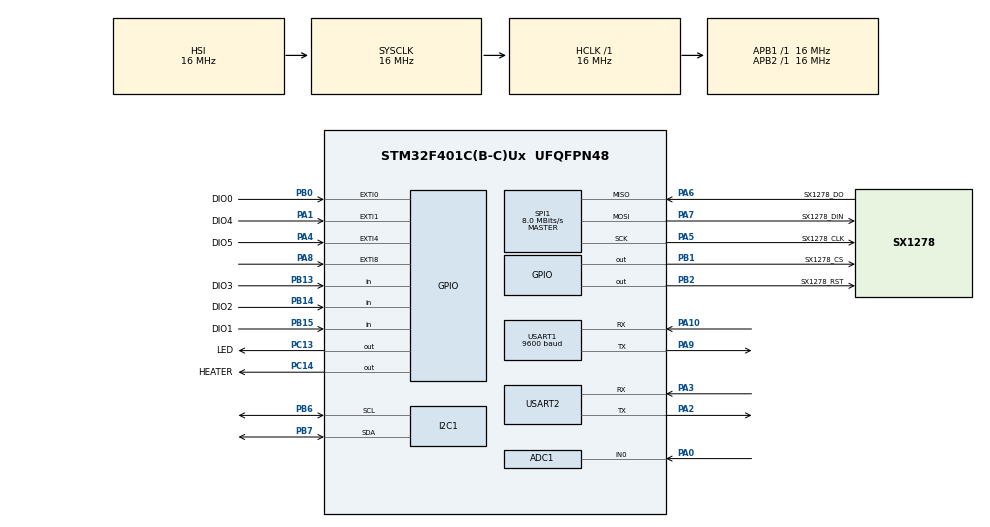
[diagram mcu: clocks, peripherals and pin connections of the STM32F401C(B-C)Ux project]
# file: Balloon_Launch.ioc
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ADC1.Channel-1\#ChannelRegularConversion=ADC_CHANNEL_0
ADC1.NbrOfConversionFlag=1
ADC1.Rank-1\#ChannelRegularConversion=1
ADC1.SamplingTime-1\#ChannelRegularConversion=ADC_SAMPLETIME_3CYCLES
ADC1.master=1
Dma.Request0=USART1_RX
Dma.USART1_RX.0.Direction=DMA_PERIPH_TO_MEMORY
Dma.USART1_RX.0.FIFOMode=DMA_FIFOMODE_DISABLE
Dma.USART1_RX.0.Instance=DMA2_Stream2
Dma.USART1_RX.0.MemDataAlignment=DMA_MDATAALIGN_BYTE
Dma.USART1_RX.0.MemInc=DMA_MINC_ENABLE
Dma.USART1_RX.0.Mode=DMA_NORMAL
Dma.USART1_RX.0.PeriphDataAlignment=DMA_PDATAALIGN_BYTE
Dma.USART1_RX.0.PeriphInc=DMA_PINC_DISABLE
Dma.USART1_RX.0.Priority=DMA_PRIORITY_LOW
IWDG.Prescaler=IWDG_PRESCALER_64
IWDG.Reload=3499
Mcu.Family=STM32F4
Mcu.Name=STM32F401C(B-C)Ux
Mcu.Package=UFQFPN48
NVIC.DMA2_Stream2_IRQn=true\:0\:0\:false\:false\:true\:false\:true\:true
NVIC.EXTI0_IRQn=true\:0\:0\:false\:false\:true\:true\:true\:true
NVIC.EXTI4_IRQn=true\:0\:0\:false\:false\:true\:true\:true\:true
NVIC.PriorityGroup=NVIC_PRIORITYGROUP_4
NVIC.TIM2_IRQn=true\:0\:0\:false\:false\:true\:true\:true\:true
PA0-WKUP.Signal=ADCx_IN0
PA1.GPIO_Label=DIO4
PA1.GPIO_ModeDefaultEXTI=GPIO_MODE_IT_RISING
PA1.Signal=GPXTI1
PA10.Mode=Asynchronous
PA10.Signal=USART1_RX
PA13.Mode=Serial_Wire
PA13.Signal=SYS_JTMS-SWDIO
PA14.Mode=Serial_Wire
PA14.Signal=SYS_JTCK-SWCLK
PA2.Mode=Asynchronous
PA2.Signal=USART2_TX
PA3.Mode=Asynchronous
PA3.Signal=USART2_RX
PA4.GPIO_Label=DIO5
PA4.GPIO_ModeDefaultEXTI=GPIO_MODE_IT_RISING_FALLING
PA4.Signal=GPXTI4
PA5.GPIO_Label=SX1278_CLK
PA5.Mode=Full_Duplex_Master
PA5.Signal=SPI1_SCK
PA6.GPIO_Label=SX1278_DO
PA6.Mode=Full_Duplex_Master
PA6.Signal=SPI1_MISO
PA7.GPIO_Label=SX1278_DIN
PA7.Mode=Full_Duplex_Master
PA7.Signal=SPI1_MOSI
PA8.GPIO_ModeDefaultEXTI=GPIO_MODE_IT_RISING
PA8.Signal=GPXTI8
PA9.Mode=Asynchronous
PA9.Signal=USART1_TX
PB0.GPIO_Label=DIO0
PB0.GPIO_ModeDefaultEXTI=GPIO_MODE_IT_RISING_FALLING
PB0.Signal=GPXTI0
PB1.GPIO_Label=SX1278_CS
PB1.PinState=GPIO_PIN_RESET
PB1.Signal=GPIO_Output
PB13.GPIO_Label=DIO3
PB13.Signal=GPIO_Input
PB14.GPIO_Label=DIO2
PB14.Signal=GPIO_Input
PB15.GPIO_Label=DIO1
PB15.Signal=GPIO_Input
PB2.GPIO_Label=SX1278_RST
PB2.GPIO_ModeDefaultOutputPP=GPIO_MODE_OUTPUT_PP
PB2.GPIO_PuPd=GPIO_NOPULL
PB2.PinState=GPIO_PIN_SET
PB2.Signal=GPIO_Output
PB6.Mode=I2C
PB6.Signal=I2C1_SCL
PB7.Mode=I2C
PB7.Signal=I2C1_SDA
PC13-ANTI_TAMP.GPIO_Label=LED
PC13-ANTI_TAMP.Signal=GPIO_Output
PC14-OSC32_IN.GPIO_Label=HEATER
PC14-OSC32_IN.Signal=GPIO_Output
PH0\ -\ OSC_IN.Mode=HSE-External-Oscillator
PH0\ -\ OSC_IN.Signal=RCC_OSC_IN
PH1\ -\ OSC_OUT.Mode=HSE-External-Oscillator
PH1\ -\ OSC_OUT.Signal=RCC_OSC_OUT
ProjectManager.HeapSize=0x200
ProjectManager.StackSize=0x400
ProjectManager.TargetToolchain=STM32CubeIDE
RCC.AHBFreq_Value=16000000
RCC.APB1Freq_Value=16000000
RCC.APB2Freq_Value=16000000
RCC.CortexFreq_Value=16000000
RCC.HSE_VALUE=25000000
RCC.HSI_VALUE=16000000
RCC.LSE_VALUE=32768
RCC.SYSCLKFreq_VALUE=16000000
RCC.VCOOutputFreq_Value=192000000
SH.ADCx_IN0.0=ADC1_IN0,IN0
SPI1.CalculateBaudRate=8.0 MBits/s
SPI1.Direction=SPI_DIRECTION_2LINES
SPI1.Mode=SPI_MODE_MASTER
SPI1.VirtualType=VM_MASTER
TIM2.Period=4999
TIM2.Prescaler=15999
USART1.BaudRate=9600
USART1.VirtualMode=VM_ASYNC
USART2.VirtualMode=VM_ASYNC
VP_IWDG_VS_IWDG.Mode=IWDG_Activate
VP_TIM2_VS_ClockSourceINT.Mode=Internal
VP_TIM2_VS_ClockSourceITR.Mode=TriggerSource_ITR3
board=custom

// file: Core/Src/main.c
/* USER CODE BEGIN Header */
/**
  ******************************************************************************
  * @file           : main.c
  * @brief          : Main program body
  ******************************************************************************
  * @attention
  *
  * Copyright (c) 2026 STMicroelectronics.
  * All rights reserved.
  *
  * This software is licensed under terms that can be found in the LICENSE file
  * in the root directory of this software component.
  * If no LICENSE file comes with this software, it is provided AS-IS.
  *
  ******************************************************************************
  */
/* USER CODE END Header */
#include "main.h"

/* USER CODE BEGIN Includes */
#include "sx1278.h"
#include "telemetry.h"
#include "image.h"
#include "neo_6m.h"
#include "MPU_6050.h"
#include "ms5611.h"
/* USER CODE END Includes */

/* USER CODE BEGIN PD */
extern volatile uint8_t TX_BECON_FLAG;
extern volatile uint8_t TX_DONE;

Struct_MPU6050 MPU_DATA = {0};

extern snsr_err_ errr;

/* USER CODE END PD */

ADC_HandleTypeDef hadc1;

I2C_HandleTypeDef hi2c1;

IWDG_HandleTypeDef hiwdg;

SPI_HandleTypeDef hspi1;

TIM_HandleTypeDef htim2;

UART_HandleTypeDef huart1;
UART_HandleTypeDef huart2;
DMA_HandleTypeDef hdma_usart1_rx;

void SystemClock_Config(void);
static void MX_GPIO_Init(void);
static void MX_DMA_Init(void);
static void MX_I2C1_Init(void);
static void MX_SPI1_Init(void);
static void MX_USART1_UART_Init(void);
static void MX_USART2_UART_Init(void);
static void MX_TIM2_Init(void);
static void MX_IWDG_Init(void);
static void MX_ADC1_Init(void);

int main(void)
{

  /* MCU Configuration--------------------------------------------------------*/

  /* Reset of all peripherals, Initializes the Flash interface and the Systick. */
  HAL_Init();

  /* Configure the system clock */
  SystemClock_Config();

  /* Initialize all configured peripherals */
  MX_GPIO_Init();
  MX_DMA_Init();
  MX_I2C1_Init();
  MX_SPI1_Init();
  MX_USART1_UART_Init();
  MX_USART2_UART_Init();
  MX_TIM2_Init();
  MX_ADC1_Init();
  /* USER CODE BEGIN 2 */
  uint8_t err = 0x00;
  err = sx1278_Config();

  if(err == 1)
  {
	  errr.sx1278_error = 1;
  }

  GPS_Init(&huart1);

  if(MS5611_Init(&hi2c1) != HAL_OK)
  {
	  errr.ms5611_error = 1;
  }

  /* Initialize MPU6050 */
  MPU6050_init(&hi2c1, &MPU_DATA);

  if (MPU_DATA.error_flag)
  {
      errr.mpu6050_error = 1;
  }
  else
  {
      HAL_Delay(1000);

      MPU6050_Calibrate(
          &hi2c1,
          &MPU_DATA,
          500
      );

      if (MPU_DATA.error_flag)
      {
          errr.mpu6050_error = 1;
      }
  }

  /* Clear any pending EXTI interrupts */
  __HAL_GPIO_EXTI_CLEAR_IT(DIO5_Pin);
  __HAL_GPIO_EXTI_CLEAR_IT(DIO0_Pin);

  /* Now enable the NVIC interrupts */
  HAL_NVIC_EnableIRQ(EXTI0_IRQn);
  HAL_NVIC_EnableIRQ(EXTI4_IRQn);

  HAL_TIM_Base_Start_IT(&htim2);

  HAL_GPIO_TogglePin(LED_GPIO_Port, LED_Pin);
  HAL_Delay(250);
  HAL_GPIO_TogglePin(LED_GPIO_Port, LED_Pin);
  HAL_Delay(250);
  HAL_GPIO_TogglePin(LED_GPIO_Port, LED_Pin);
  HAL_Delay(250);
  HAL_GPIO_TogglePin(LED_GPIO_Port, LED_Pin);
  HAL_Delay(250);

  MX_IWDG_Init();

  /* USER CODE END 2 */

  /* Infinite loop */
  /* USER CODE BEGIN WHILE */
  while (1)
  {
	  Process_NMEA();

	  if(MS5611_Read_Calibration(&hi2c1) != HAL_OK)
	  {
		  errr.ms5611_error = 1;
	  }
	  else errr.ms5611_error = 0;

	  if(MS5611_Read_Pressure_Temperature(&hi2c1) != HAL_OK)
	  {
		  errr.ms5611_error = 1;
	  }
	  else errr.ms5611_error = 0;

	  if (MPU_DATA.error_flag == 0)
	  {
	      MPU6050_GetData(&hi2c1, &MPU_DATA);

	      if (MPU_DATA.error_flag == 1)
	      {
	          errr.mpu6050_error = 1;
	      }
	  }

	  GDM_Manager();

	  Heater_Control();

	  Parse_Data();

	  TX_Becon();

	  RX_Handler();

	  JPEG_Image_Transmit();
    /* USER CODE END WHILE */

  }
}

void SystemClock_Config(void)
{
  RCC_OscInitTypeDef RCC_OscInitStruct = {0};
  RCC_ClkInitTypeDef RCC_ClkInitStruct = {0};

  /** Configure the main internal regulator output voltage
  */
  __HAL_RCC_PWR_CLK_ENABLE();
  __HAL_PWR_VOLTAGESCALING_CONFIG(PWR_REGULATOR_VOLTAGE_SCALE2);

  /** Initializes the RCC Oscillators according to the specified parameters
  * in the RCC_OscInitTypeDef structure.
  */
  RCC_OscInitStruct.OscillatorType = RCC_OSCILLATORTYPE_HSI|RCC_OSCILLATORTYPE_LSI;
  RCC_OscInitStruct.HSIState = RCC_HSI_ON;
  RCC_OscInitStruct.HSICalibrationValue = RCC_HSICALIBRATION_DEFAULT;
  RCC_OscInitStruct.LSIState = RCC_LSI_ON;
  RCC_OscInitStruct.PLL.PLLState = RCC_PLL_NONE;
  if (HAL_RCC_OscConfig(&RCC_OscInitStruct) != HAL_OK)
  {
    Error_Handler();
  }

  /** Initializes the CPU, AHB and APB buses clocks
  */
  RCC_ClkInitStruct.ClockType = RCC_CLOCKTYPE_HCLK|RCC_CLOCKTYPE_SYSCLK
                              |RCC_CLOCKTYPE_PCLK1|RCC_CLOCKTYPE_PCLK2;
  RCC_ClkInitStruct.SYSCLKSource = RCC_SYSCLKSOURCE_HSI;
  RCC_ClkInitStruct.AHBCLKDivider = RCC_SYSCLK_DIV1;
  RCC_ClkInitStruct.APB1CLKDivider = RCC_HCLK_DIV1;
  RCC_ClkInitStruct.APB2CLKDivider = RCC_HCLK_DIV1;

  if (HAL_RCC_ClockConfig(&RCC_ClkInitStruct, FLASH_LATENCY_0) != HAL_OK)
  {
    Error_Handler();
  }
}

static void MX_ADC1_Init(void)
{

  ADC_ChannelConfTypeDef sConfig = {0};

  /** Configure the global features of the ADC (Clock, Resolution, Data Alignment and number of conversion)
  */
  hadc1.Instance = ADC1;
  hadc1.Init.ClockPrescaler = ADC_CLOCK_SYNC_PCLK_DIV2;
  hadc1.Init.Resolution = ADC_RESOLUTION_12B;
  hadc1.Init.ScanConvMode = DISABLE;
  hadc1.Init.ContinuousConvMode = DISABLE;
  hadc1.Init.DiscontinuousConvMode = DISABLE;
  hadc1.Init.ExternalTrigConvEdge = ADC_EXTERNALTRIGCONVEDGE_NONE;
  hadc1.Init.ExternalTrigConv = ADC_SOFTWARE_START;
  hadc1.Init.DataAlign = ADC_DATAALIGN_RIGHT;
  hadc1.Init.NbrOfConversion = 1;
  hadc1.Init.DMAContinuousRequests = DISABLE;
  hadc1.Init.EOCSelection = ADC_EOC_SINGLE_CONV;
  if (HAL_ADC_Init(&hadc1) != HAL_OK)
  {
    Error_Handler();
  }

  /** Configure for the selected ADC regular channel its corresponding rank in the sequencer and its sample time.
  */
  sConfig.Channel = ADC_CHANNEL_0;
  sConfig.Rank = 1;
  sConfig.SamplingTime = ADC_SAMPLETIME_3CYCLES;
  if (HAL_ADC_ConfigChannel(&hadc1, &sConfig) != HAL_OK)
  {
    Error_Handler();
  }

}

static void MX_I2C1_Init(void)
{

  hi2c1.Instance = I2C1;
  hi2c1.Init.ClockSpeed = 100000;
  hi2c1.Init.DutyCycle = I2C_DUTYCYCLE_2;
  hi2c1.Init.OwnAddress1 = 0;
  hi2c1.Init.AddressingMode = I2C_ADDRESSINGMODE_7BIT;
  hi2c1.Init.DualAddressMode = I2C_DUALADDRESS_DISABLE;
  hi2c1.Init.OwnAddress2 = 0;
  hi2c1.Init.GeneralCallMode = I2C_GENERALCALL_DISABLE;
  hi2c1.Init.NoStretchMode = I2C_NOSTRETCH_DISABLE;
  if (HAL_I2C_Init(&hi2c1) != HAL_OK)
  {
    Error_Handler();
  }

}

static void MX_IWDG_Init(void)
{

  hiwdg.Instance = IWDG;
  hiwdg.Init.Prescaler = IWDG_PRESCALER_64;
  hiwdg.Init.Reload = 3499;
  if (HAL_IWDG_Init(&hiwdg) != HAL_OK)
  {
    Error_Handler();
  }

}

static void MX_SPI1_Init(void)
{

  /* SPI1 parameter configuration*/
  hspi1.Instance = SPI1;
  hspi1.Init.Mode = SPI_MODE_MASTER;
  hspi1.Init.Direction = SPI_DIRECTION_2LINES;
  hspi1.Init.DataSize = SPI_DATASIZE_8BIT;
  hspi1.Init.CLKPolarity = SPI_POLARITY_LOW;
  hspi1.Init.CLKPhase = SPI_PHASE_1EDGE;
  hspi1.Init.NSS = SPI_NSS_SOFT;
  hspi1.Init.BaudRatePrescaler = SPI_BAUDRATEPRESCALER_2;
  hspi1.Init.FirstBit = SPI_FIRSTBIT_MSB;
  hspi1.Init.TIMode = SPI_TIMODE_DISABLE;
  hspi1.Init.CRCCalculation = SPI_CRCCALCULATION_DISABLE;
  hspi1.Init.CRCPolynomial = 10;
  if (HAL_SPI_Init(&hspi1) != HAL_OK)
  {
    Error_Handler();
  }

}

static void MX_TIM2_Init(void)
{

  TIM_ClockConfigTypeDef sClockSourceConfig = {0};
  TIM_SlaveConfigTypeDef sSlaveConfig = {0};
  TIM_MasterConfigTypeDef sMasterConfig = {0};

  htim2.Instance = TIM2;
  htim2.Init.Prescaler = 15999;
  htim2.Init.CounterMode = TIM_COUNTERMODE_UP;
  htim2.Init.Period = 4999;
  htim2.Init.ClockDivision = TIM_CLOCKDIVISION_DIV1;
  htim2.Init.AutoReloadPreload = TIM_AUTORELOAD_PRELOAD_DISABLE;
  if (HAL_TIM_Base_Init(&htim2) != HAL_OK)
  {
    Error_Handler();
  }
  sClockSourceConfig.ClockSource = TIM_CLOCKSOURCE_INTERNAL;
  if (HAL_TIM_ConfigClockSource(&htim2, &sClockSourceConfig) != HAL_OK)
  {
    Error_Handler();
  }
  sSlaveConfig.SlaveMode = TIM_SLAVEMODE_DISABLE;
  sSlaveConfig.InputTrigger = TIM_TS_ITR3;
  if (HAL_TIM_SlaveConfigSynchro(&htim2, &sSlaveConfig) != HAL_OK)
  {
    Error_Handler();
  }
  sMasterConfig.MasterOutputTrigger = TIM_TRGO_RESET;
  sMasterConfig.MasterSlaveMode = TIM_MASTERSLAVEMODE_DISABLE;
  if (HAL_TIMEx_MasterConfigSynchronization(&htim2, &sMasterConfig) != HAL_OK)
  {
    Error_Handler();
  }

}

static void MX_USART1_UART_Init(void)
{

  huart1.Instance = USART1;
  huart1.Init.BaudRate = 9600;
  huart1.Init.WordLength = UART_WORDLENGTH_8B;
  huart1.Init.StopBits = UART_STOPBITS_1;
  huart1.Init.Parity = UART_PARITY_NONE;
  huart1.Init.Mode = UART_MODE_TX_RX;
  huart1.Init.HwFlowCtl = UART_HWCONTROL_NONE;
  huart1.Init.OverSampling = UART_OVERSAMPLING_16;
  if (HAL_UART_Init(&huart1) != HAL_OK)
  {
    Error_Handler();
  }

}

static void MX_USART2_UART_Init(void)
{

  huart2.Instance = USART2;
  huart2.Init.BaudRate = 115200;
  huart2.Init.WordLength = UART_WORDLENGTH_8B;
  huart2.Init.StopBits = UART_STOPBITS_1;
  huart2.Init.Parity = UART_PARITY_NONE;
  huart2.Init.Mode = UART_MODE_TX_RX;
  huart2.Init.HwFlowCtl = UART_HWCONTROL_NONE;
  huart2.Init.OverSampling = UART_OVERSAMPLING_16;
  if (HAL_UART_Init(&huart2) != HAL_OK)
  {
    Error_Handler();
  }

}

static void MX_DMA_Init(void)
{

  /* DMA controller clock enable */
  __HAL_RCC_DMA2_CLK_ENABLE();

  /* DMA interrupt init */
  /* DMA2_Stream2_IRQn interrupt configuration */
  HAL_NVIC_SetPriority(DMA2_Stream2_IRQn, 0, 0);
  HAL_NVIC_EnableIRQ(DMA2_Stream2_IRQn);

}

static void MX_GPIO_Init(void)
{
  GPIO_InitTypeDef GPIO_InitStruct = {0};

  /* GPIO Ports Clock Enable */
  __HAL_RCC_GPIOC_CLK_ENABLE();
  __HAL_RCC_GPIOH_CLK_ENABLE();
  __HAL_RCC_GPIOA_CLK_ENABLE();
  __HAL_RCC_GPIOB_CLK_ENABLE();

  /*Configure GPIO pin Output Level */
  HAL_GPIO_WritePin(GPIOC, LED_Pin|HEATER_Pin, GPIO_PIN_RESET);

  /*Configure GPIO pin Output Level */
  HAL_GPIO_WritePin(SX1278_CS_GPIO_Port, SX1278_CS_Pin, GPIO_PIN_RESET);

  /*Configure GPIO pin Output Level */
  HAL_GPIO_WritePin(SX1278_RST_GPIO_Port, SX1278_RST_Pin, GPIO_PIN_SET);

  /*Configure GPIO pins : LED_Pin HEATER_Pin */
  GPIO_InitStruct.Pin = LED_Pin|HEATER_Pin;
  GPIO_InitStruct.Mode = GPIO_MODE_OUTPUT_PP;
  GPIO_InitStruct.Pull = GPIO_NOPULL;
  GPIO_InitStruct.Speed = GPIO_SPEED_FREQ_LOW;
  HAL_GPIO_Init(GPIOC, &GPIO_InitStruct);

  /*Configure GPIO pins : DIO4_Pin PA8 */
  GPIO_InitStruct.Pin = DIO4_Pin|GPIO_PIN_8;
  GPIO_InitStruct.Mode = GPIO_MODE_IT_RISING;
  GPIO_InitStruct.Pull = GPIO_NOPULL;
  HAL_GPIO_Init(GPIOA, &GPIO_InitStruct);

  /*Configure GPIO pin : DIO5_Pin */
  GPIO_InitStruct.Pin = DIO5_Pin;
  GPIO_InitStruct.Mode = GPIO_MODE_IT_RISING_FALLING;
  GPIO_InitStruct.Pull = GPIO_NOPULL;
  HAL_GPIO_Init(DIO5_GPIO_Port, &GPIO_InitStruct);

  /*Configure GPIO pin : DIO0_Pin */
  GPIO_InitStruct.Pin = DIO0_Pin;
  GPIO_InitStruct.Mode = GPIO_MODE_IT_RISING_FALLING;
  GPIO_InitStruct.Pull = GPIO_NOPULL;
  HAL_GPIO_Init(DIO0_GPIO_Port, &GPIO_InitStruct);

  /*Configure GPIO pins : SX1278_CS_Pin SX1278_RST_Pin */
  GPIO_InitStruct.Pin = SX1278_CS_Pin|SX1278_RST_Pin;
  GPIO_InitStruct.Mode = GPIO_MODE_OUTPUT_PP;
  GPIO_InitStruct.Pull = GPIO_NOPULL;
  GPIO_InitStruct.Speed = GPIO_SPEED_FREQ_LOW;
  HAL_GPIO_Init(GPIOB, &GPIO_InitStruct);

  /*Configure GPIO pins : DIO3_Pin DIO2_Pin DIO1_Pin */
  GPIO_InitStruct.Pin = DIO3_Pin|DIO2_Pin|DIO1_Pin;
  GPIO_InitStruct.Mode = GPIO_MODE_INPUT;
  GPIO_InitStruct.Pull = GPIO_NOPULL;
  HAL_GPIO_Init(GPIOB, &GPIO_InitStruct);

  /* EXTI interrupt init*/
  HAL_NVIC_SetPriority(EXTI0_IRQn, 0, 0);
  //HAL_NVIC_EnableIRQ(EXTI0_IRQn);

  HAL_NVIC_SetPriority(EXTI4_IRQn, 0, 0);
  //HAL_NVIC_EnableIRQ(EXTI4_IRQn);

}

void Error_Handler(void)
{
  __disable_irq();
  while (1)
  {
  }
}
